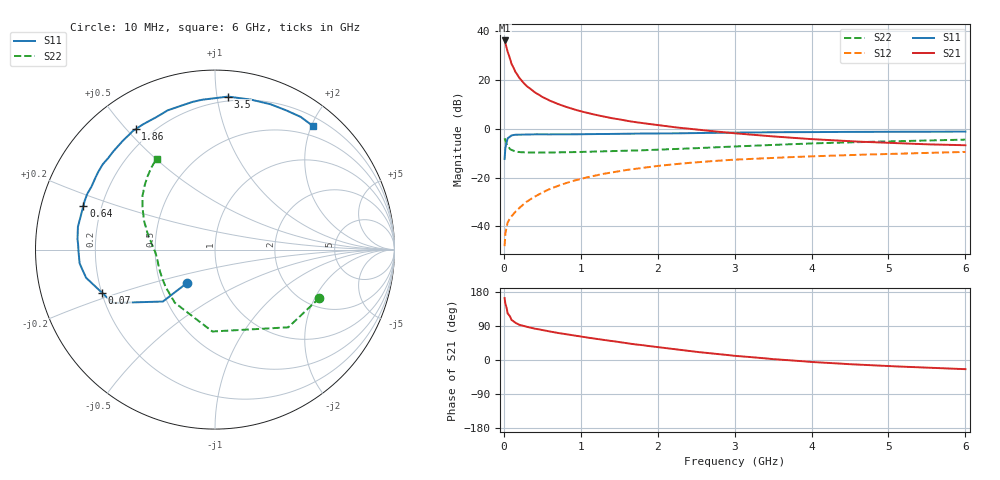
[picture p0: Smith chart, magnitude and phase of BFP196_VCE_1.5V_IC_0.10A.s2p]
! Infineon Technologies  Discrete & RF Semiconductors
! BFP196
! VCE = 1.5 V,  IC = 0.10A
! Common Emitter S-Parameters:  Jan 2016
# GHz  S  MA  R  50
!  f  S11  S21  S12  S22
! GHz  MAG  ANG  MAG  ANG  MAG  ANG  MAG  ANG
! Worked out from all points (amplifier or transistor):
!   210 points, 10 MHz to 6 GHz, reference 50 ohm
!   highest |S21| = 36.3 dB at 10 MHz (marker M1)
!   |S21| within 3 dB of that: start of sweep to 36.06 MHz
!   unconditionally stable (mu >= 1): start of sweep to 11.26 MHz; 219.1 MHz to end of sweep
!   at 185 MHz: K = 0.94, MSG = 27.4 dB, |S12| = -33.0 dB
!   at 1.52 GHz: K = 1.13, MAG = 8.3 dB, |S12| = -17.2 dB
!   at 6 GHz: K = 1.03, MAG = 0.2 dB, |S12| = -9.5 dB
!   S11 on the Smith chart (normalised r, x): 10 MHz: 0.69, -0.27; 70 MHz: 0.20, -0.18; 640 MHz: 0.13, +0.16; 1.86 GHz: 0.14, +0.53; 3.5 GHz: 0.17, +1.08; 6 GHz: 0.34, +2.03
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0.01  0.2404 -129.9  65.43 163.2  0.0039 67.3  0.6413 -24.8
0.02  0.4099 -135.1  58.47 148.3  0.0071 61.6  0.595 -46.7
0.05  0.6419 -152.4  37.97 122.5  0.012 51.4  0.4565 -91.8
0.07  0.6734 -159.0  31.14 117.8  0.0136 51.3  0.4043 -104.1
0.1  0.7354 -167.7  21.6 105.5  0.016 51.1  0.3711 -127.1
0.15  0.7582 -174.2  14.82 97.9  0.0198 54.7  0.3449 -142.9
0.2  0.76 -178.7  11.22 93.0  0.0236 59.0  0.3343 -151.9
0.24  0.7618 178.8  9.411 90.6  0.0269 61.4  0.3307 -156.7
0.3  0.7681 175.7  7.497 87.2  0.0321 63.8  0.3275 -161.5
0.4  0.7742 170.6  5.657 82.8  0.0403 66.1  0.3263 -166.8
0.5  0.7712 167.3  4.527 79.0  0.0491 67.0  0.3263 -170.2
0.64  0.7726 161.7  3.574 73.8  0.0619 66.6  0.3278 -173.4
0.8  0.7764 156.4  2.859 68.3  0.0762 65.5  0.3312 -176.1
1.02  0.7779 148.6  2.257 61.3  0.0955 63.1  0.3365 -179.1
1.4  0.7875 136.7  1.664 50.3  0.1272 57.6  0.3482 176.5
1.86  0.8037 123.3  1.28 37.6  0.1631 50.2  0.3666 171.4
2.02  0.8047 119.2  1.182 33.6  0.1744 47.6  0.3753 169.3
3.1  0.8397 92.8  0.788 9.5  0.2372 30.6  0.4403 154.8
3.5  0.8557 85.1  0.7 2.3  0.2548 24.9  0.4688 149.6
4.1  0.8597 74.9  0.604 -6.3  0.2762 17.3  0.508 142.2
5.1  0.8725 61.7  0.508 -16.9  0.3088 6.0  0.5581 131.8
6  0.8786 51.5  0.461 -24.2  0.3362 -4.2  0.6016 122.8
